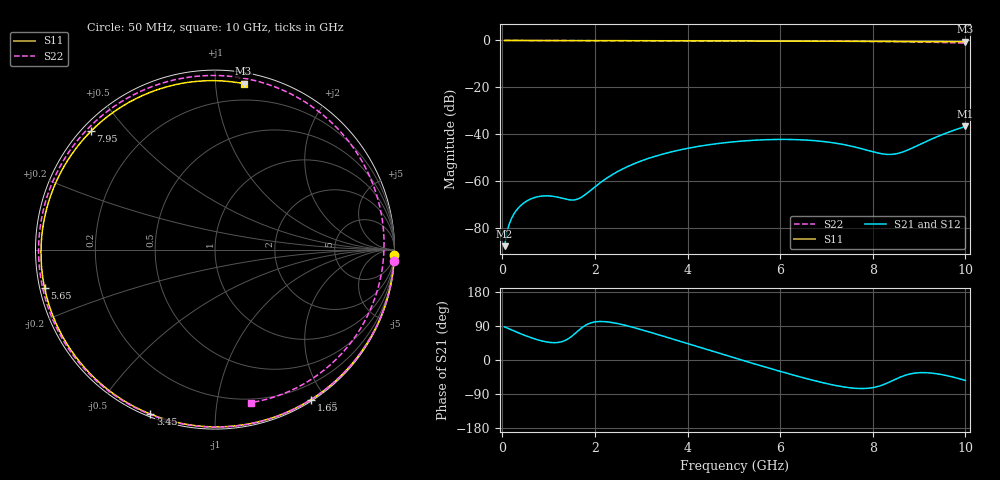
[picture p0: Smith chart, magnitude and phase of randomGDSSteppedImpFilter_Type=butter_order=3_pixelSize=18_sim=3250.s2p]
! freq	dB(S11)	phase(S11)	dB(S12)	phase(S12)
!  dB(S21)	phase(S21)	dB(S22)	phase(S22)
!S-par simulation data
#  GHz  S  DB  R 50
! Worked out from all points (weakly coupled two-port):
!   200 points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, 50 MHz to 10 GHz, reference 50 ohm
!   highest |S21| = -36.77 dB at 10 GHz (marker M1); lowest = -87.9 dB at 50 MHz (marker M2)
!   lowest |S11| = -0.6 dB at 10 GHz (marker M3), VSWR 31.51, Z = 3.82 + j59.2 ohm
!   |S11| at or under -10 dB: nowhere
!   |S22| runs from -1.2 to 0.0 dB; largest |S21 - S12| = 0
!   S11 on the Smith chart (normalised r, x): 50 MHz: 0, -63; 1.65 GHz: 0.02, -1.83; 3.45 GHz: 0.01, -0.68; 5.65 GHz: 0.01, -0.11; 7.95 GHz: 0.03, +0.40; 10 GHz: 0.08, +1.18
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0.05  -0.00 -1.8  -87.92 87.3  -87.92 87.3  -0.00 -3.6
0.1  -0.00 -3.6  -81.93 84.7  -81.93 84.7  -0.01 -7.2
0.35  -0.02 -12.6  -71.52 71.6  -71.52 71.6  -0.03 -25.0
0.65  -0.03 -23.2  -67.46 57.7  -67.46 57.7  -0.06 -45.4
1.15  -0.05 -40.6  -66.80 45.8  -66.80 45.8  -0.09 -76.7
1.65  -0.07 -57.4  -67.61 78.4  -67.61 78.4  -0.11 -103.7
1.75  -0.07 -60.7  -66.47 88.0  -66.47 88.0  -0.11 -108.6
2.55  -0.10 -85.7  -55.41 94.5  -55.41 94.5  -0.13 -143.4
3.4  -0.13 -110.1  -48.92 65.6  -48.92 65.6  -0.15 -174.2
3.45  -0.13 -111.5  -48.65 63.8  -48.65 63.8  -0.15 -175.9
4.2  -0.16 -131.4  -45.39 35.7  -45.39 35.7  -0.17 159.7
5.05  -0.20 -152.7  -43.21 4.2  -43.21 4.2  -0.20 132.8
5.65  -0.24 -167.3  -42.45 -17.6  -42.45 -17.6  -0.23 113.4
6.2  -0.27 179.4  -42.32 -36.9  -42.32 -36.9  -0.26 94.9
6.7  -0.30 167.4  -42.76 -53.3  -42.76 -53.3  -0.29 77.1
7.3  -0.35 152.7  -44.24 -69.6  -44.24 -69.6  -0.33 54.4
7.95  -0.40 136.3  -47.29 -73.9  -47.29 -73.9  -0.41 27.6
8.35  -0.43 125.9  -48.72 -58.8  -48.72 -58.8  -0.48 9.8
8.75  -0.46 115.3  -46.88 -38.5  -46.88 -38.5  -0.57 -9.0
9.15  -0.49 104.4  -43.22 -33.5  -43.22 -33.5  -0.71 -29.0
9.6  -0.52 91.7  -39.48 -41.3  -39.48 -41.3  -0.91 -53.3
10  -0.55 80.2  -36.77 -54.0  -36.77 -54.0  -1.15 -76.7
